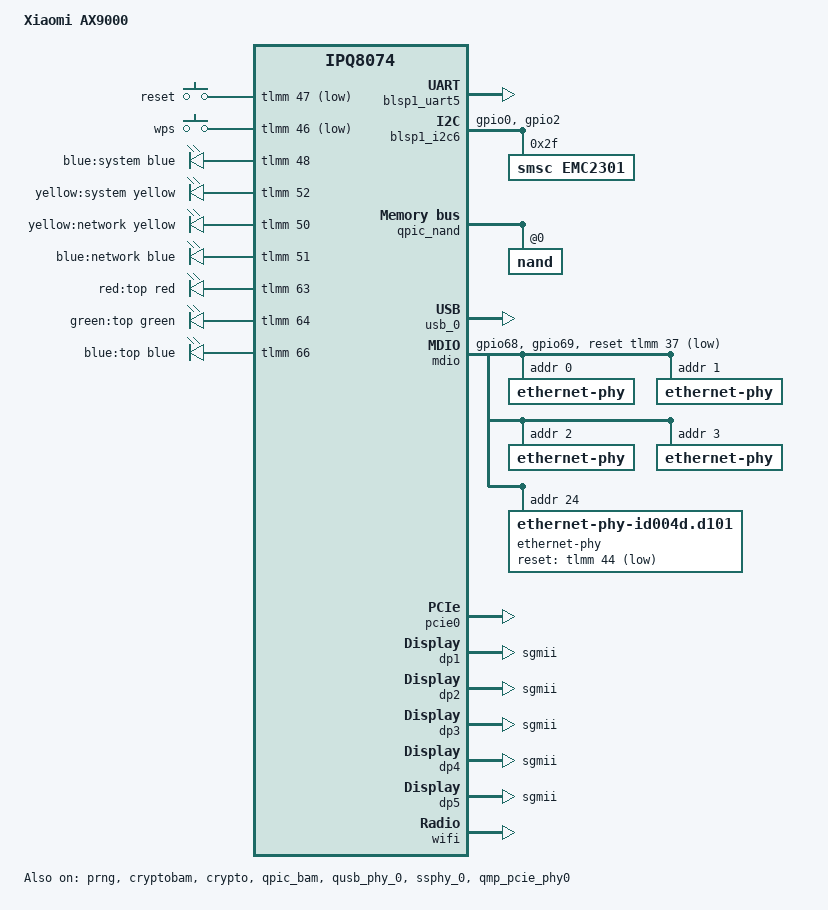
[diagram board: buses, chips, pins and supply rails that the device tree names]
// SPDX-License-Identifier: GPL-2.0-or-later OR MIT
/* Copyright (c) 2021, Robert Marko <robimarko@gmail.com> */

/dts-v1/;

#include "ipq8074.dtsi"
#include "ipq8074-hk-cpu.dtsi"
#include "ipq8074-ac-nss.dtsi"
#include <dt-bindings/gpio/gpio.h>
#include <dt-bindings/input/input.h>
#include <dt-bindings/leds/common.h>

/ {
	#address-cells = <2>;
	#size-cells = <2>;

	model = "Xiaomi AX9000";
	compatible = "xiaomi,ax9000", "qcom,ipq8074";
	interrupt-parent = <&intc>;

	aliases {
		serial0 = &blsp1_uart5;
		led-boot = &led_system_yellow;
		led-failsafe = &led_system_yellow;
		led-running = &led_system_blue;
		led-upgrade = &led_system_yellow;
		/* Aliases as required by u-boot to patch MAC addresses */
		ethernet0 = &dp1;
		ethernet1 = &dp2;
		ethernet2 = &dp3;
		ethernet3 = &dp4;
		ethernet4 = &dp5;
		label-mac-device = &dp5;
	};

	chosen {
		stdout-path = "serial0:115200n8";
		bootargs-append = " root=/dev/ubiblock0_1";
	};

	keys {
		compatible = "gpio-keys";

		reset {
			label = "reset";
			gpios = <&tlmm 47 GPIO_ACTIVE_LOW>;
			linux,code = <KEY_RESTART>;
		};

		wps {
			label = "wps"; /* Labeled Mesh on the device */
			gpios = <&tlmm 46 GPIO_ACTIVE_LOW>;
			linux,code = <KEY_WPS_BUTTON>;
		};
	};

	leds {
		compatible = "gpio-leds";

		led_system_blue: system-blue {
			label = "blue:system";
			gpios = <&tlmm 48 GPIO_ACTIVE_HIGH>;
			color = <LED_COLOR_ID_BLUE>;
		};

		led_system_yellow: system-yellow {
			label = "yellow:system";
			gpios = <&tlmm 52 GPIO_ACTIVE_HIGH>;
			color = <LED_COLOR_ID_YELLOW>;
		};

		network-yellow {
			label = "yellow:network";
			gpios = <&tlmm 50 GPIO_ACTIVE_HIGH>;
			color = <LED_COLOR_ID_YELLOW>;
		};

		network-blue {
			label = "blue:network";
			gpios = <&tlmm 51 GPIO_ACTIVE_HIGH>;
			color = <LED_COLOR_ID_BLUE>;
		};

		top-red {
			label = "red:top";
			gpios = <&tlmm 63 GPIO_ACTIVE_HIGH>;
			color = <LED_COLOR_ID_RED>;
			default-state = "keep";
		};

		top-green {
			label = "green:top";
			gpios = <&tlmm 64 GPIO_ACTIVE_HIGH>;
			color = <LED_COLOR_ID_GREEN>;
			default-state = "keep";
		};

		top-blue {
			label = "blue:top";
			gpios = <&tlmm 66 GPIO_ACTIVE_HIGH>;
			color = <LED_COLOR_ID_BLUE>;
			default-state = "keep";
		};
	};
};

&tlmm {
	mdio_pins: mdio-pins {
		mdc {
			pins = "gpio68";
			function = "mdc";
			drive-strength = <8>;
			bias-pull-up;
		};

		mdio {
			pins = "gpio69";
			function = "mdio";
			drive-strength = <8>;
			bias-pull-up;
		};
	};

	i2c_pins: i2c-pins {
		pins = "gpio0", "gpio2";
		function = "blsp5_i2c";
		drive-strength = <8>;
		bias-disable;
	};
};

&blsp1_uart5 {
	status = "okay";
};

&blsp1_i2c6 {
	status = "okay";

	pinctrl-0 = <&i2c_pins>;
	pinctrl-names = "default";

	/* Driver missing, justa placeholder */
	emc2301@2f {
		compatible = "smsc,emc2301";
		reg = <0x2f>;
	};
};

&prng {
	status = "okay";
};

&cryptobam {
	status = "okay";
};

&crypto {
	status = "okay";
};

&qpic_bam {
	status = "okay";
};

&qpic_nand {
	status = "okay";

	nand@0 {
		reg = <0>;
		nand-ecc-strength = <4>;
		nand-ecc-step-size = <512>;
		nand-bus-width = <8>;

		partitions {
			compatible = "qcom,smem-part";
		};
	};
};

&qusb_phy_0 {
	status = "okay";
};

&ssphy_0 {
	status = "okay";
};

&usb_0 {
	status = "okay";
};

&mdio {
	status = "okay";

	pinctrl-0 = <&mdio_pins>;
	pinctrl-names = "default";
	reset-gpios = <&tlmm 37 GPIO_ACTIVE_LOW>;

	ethernet-phy@0 {
		reg = <0>;
	};

	ethernet-phy@1 {
		reg = <1>;
	};

	ethernet-phy@2 {
		reg = <2>;
	};

	ethernet-phy@3 {
		reg = <3>;
	};

	ethernet-phy@24 {
		/*
		 * It looks like the PHY is too slow for
		 * auto probing after reset is deasserted
		 * so set the ID manually.
		 */
		compatible = "ethernet-phy-id004d.d101";
		reg = <24>;
		reset-gpios = <&tlmm 44 GPIO_ACTIVE_LOW>;
	};
};

&qmp_pcie_phy0 {
	status = "okay";
};

&pcie0 {
	status = "okay";

	perst-gpio = <&tlmm 58 GPIO_ACTIVE_LOW>;
};

&qmp_pcie_phy1 {
	status = "disabled";
};

&pcie1 {
	status = "disabled";

	perst-gpio = <&tlmm 62 GPIO_ACTIVE_HIGH>;
};

&ess_switch {
	switch_cpu_bmp = <0x1>;  /* cpu port bitmap */
	switch_lan_bmp = <0x1e>; /* lan port bitmap */
	switch_wan_bmp = <0x20>; /* wan port bitmap */
	switch_mac_mode = <0x0>; /* mac mode for uniphy instance0*/
	switch_mac_mode1 = <0x0f>; /* mac mode for uniphy instance1*/
	switch_mac_mode2 = <0xff>; /* mac mode for uniphy instance2*/
	bm_tick_mode = <0>; /* bm tick mode */
	tm_tick_mode = <0>; /* tm tick mode */
	qcom,port_phyinfo {
		port@0 {
			port_id = <1>;
			phy_address = <0>;
		};

		port@1 {
			port_id = <2>;
			phy_address = <1>;
		};

		port@2 {
			port_id = <3>;
			phy_address = <2>;
		};

		port@3 {
			port_id = <4>;
			phy_address = <3>;
		};

		port@4 {
			port_id = <5>;
			phy_address = <24>;
			port_mac_sel = "QGMAC_PORT";
		};
	};
	port_scheduler_resource {
		port@0 {
			port_id = <0>;
			ucast_queue = <0 143>;
			mcast_queue = <256 271>;
			l0sp = <0 35>;
			l0cdrr = <0 47>;
			l0edrr = <0 47>;
			l1cdrr = <0 7>;
			l1edrr = <0 7>;
		};
		port@1 {
			port_id = <1>;
			ucast_queue = <144 159>;
			mcast_queue = <272 275>;
			l0sp = <36 39>;
			l0cdrr = <48 63>;
			l0edrr = <48 63>;
			l1cdrr = <8 11>;
			l1edrr = <8 11>;
		};
		port@2 {
			port_id = <2>;
			ucast_queue = <160 175>;
			mcast_queue = <276 279>;
			l0sp = <40 43>;
			l0cdrr = <64 79>;
			l0edrr = <64 79>;
			l1cdrr = <12 15>;
			l1edrr = <12 15>;
		};
		port@3 {
			port_id = <3>;
			ucast_queue = <176 191>;
			mcast_queue = <280 283>;
			l0sp = <44 47>;
			l0cdrr = <80 95>;
			l0edrr = <80 95>;
			l1cdrr = <16 19>;
			l1edrr = <16 19>;
		};
		port@4 {
			port_id = <4>;
			ucast_queue = <192 207>;
			mcast_queue = <284 287>;
			l0sp = <48 51>;
			l0cdrr = <96 111>;
			l0edrr = <96 111>;
			l1cdrr = <20 23>;
			l1edrr = <20 23>;
		};
		port@5 {
			port_id = <5>;
			ucast_queue = <208 223>;
			mcast_queue = <288 291>;
			l0sp = <52 55>;
			l0cdrr = <112 127>;
			l0edrr = <112 127>;
			l1cdrr = <24 27>;
			l1edrr = <24 27>;
		};
		port@6 {
			port_id = <6>;
			ucast_queue = <224 239>;
			mcast_queue = <292 295>;
			l0sp = <56 59>;
			l0cdrr = <128 143>;
			l0edrr = <128 143>;
			l1cdrr = <28 31>;
			l1edrr = <28 31>;
		};
		port@7 {
			port_id = <7>;
			ucast_queue = <240 255>;
			mcast_queue = <296 299>;
			l0sp = <60 63>;
			l0cdrr = <144 159>;
			l0edrr = <144 159>;
			l1cdrr = <32 35>;
			l1edrr = <32 35>;
		};
	};
	port_scheduler_config {
		port@0 {
			port_id = <0>;
			l1scheduler {
				group@0 {
					sp = <0 1>; /*L0 SPs*/
					/*cpri cdrr epri edrr*/
					cfg = <0 0 0 0>;
				};
			};
			l0scheduler {
				group@0 {
					/*unicast queues*/
					ucast_queue = <0 4 8>;
					/*multicast queues*/
					mcast_queue = <256 260>;
					/*sp cpri cdrr epri edrr*/
					cfg = <0 0 0 0 0>;
				};
				group@1 {
					ucast_queue = <1 5 9>;
					mcast_queue = <257 261>;
					cfg = <0 1 1 1 1>;
				};
				group@2 {
					ucast_queue = <2 6 10>;
					mcast_queue = <258 262>;
					cfg = <0 2 2 2 2>;
				};
				group@3 {
					ucast_queue = <3 7 11>;
					mcast_queue = <259 263>;
					cfg = <0 3 3 3 3>;
				};
			};
		};
		port@1 {
			port_id = <1>;
			l1scheduler {
				group@0 {
					sp = <36>;
					cfg = <0 8 0 8>;
				};
				group@1 {
					sp = <37>;
					cfg = <1 9 1 9>;
				};
			};
			l0scheduler {
				group@0 {
					ucast_queue = <144>;
					ucast_loop_pri = <16>;
					mcast_queue = <272>;
					mcast_loop_pri = <4>;
					cfg = <36 0 48 0 48>;
				};
			};
		};
		port@2 {
			port_id = <2>;
			l1scheduler {
				group@0 {
					sp = <40>;
					cfg = <0 12 0 12>;
				};
				group@1 {
					sp = <41>;
					cfg = <1 13 1 13>;
				};
			};
			l0scheduler {
				group@0 {
					ucast_queue = <160>;
					ucast_loop_pri = <16>;
					mcast_queue = <276>;
					mcast_loop_pri = <4>;
					cfg = <40 0 64 0 64>;
				};
			};
		};
		port@3 {
			port_id = <3>;
			l1scheduler {
				group@0 {
					sp = <44>;
					cfg = <0 16 0 16>;
				};
				group@1 {
					sp = <45>;
					cfg = <1 17 1 17>;
				};
			};
			l0scheduler {
				group@0 {
					ucast_queue = <176>;
					ucast_loop_pri = <16>;
					mcast_queue = <280>;
					mcast_loop_pri = <4>;
					cfg = <44 0 80 0 80>;
				};
			};
		};
		port@4 {
			port_id = <4>;
			l1scheduler {
				group@0 {
					sp = <48>;
					cfg = <0 20 0 20>;
				};
				group@1 {
					sp = <49>;
					cfg = <1 21 1 21>;
				};
			};
			l0scheduler {
				group@0 {
					ucast_queue = <192>;
					ucast_loop_pri = <16>;
					mcast_queue = <284>;
					mcast_loop_pri = <4>;
					cfg = <48 0 96 0 96>;
				};
			};
		};
		port@5 {
			port_id = <5>;
			l1scheduler {
				group@0 {
					sp = <52>;
					cfg = <0 24 0 24>;
				};
				group@1 {
					sp = <53>;
					cfg = <1 25 1 25>;
				};
			};
			l0scheduler {
				group@0 {
					ucast_queue = <208>;
					ucast_loop_pri = <16>;
					mcast_queue = <288>;
					mcast_loop_pri = <4>;
					cfg = <52 0 112 0 112>;
				};
			};
		};
		port@6 {
			port_id = <6>;
			l1scheduler {
				group@0 {
					sp = <56>;
					cfg = <0 28 0 28>;
				};
				group@1 {
					sp = <57>;
					cfg = <1 29 1 29>;
				};
			};
			l0scheduler {
				group@0 {
					ucast_queue = <224>;
					ucast_loop_pri = <16>;
					mcast_queue = <292>;
					mcast_loop_pri = <4>;
					cfg = <56 0 128 0 128>;
				};
			};
		};
		port@7 {
			port_id = <7>;
			l1scheduler {
				group@0 {
					sp = <60>;
					cfg = <0 32 0 32>;
				};
				group@1 {
					sp = <61>;
					cfg = <1 33 1 33>;
				};
			};
			l0scheduler {
				group@0 {
					ucast_queue = <240>;
					ucast_loop_pri = <16>;
					mcast_queue = <296>;
					cfg = <60 0 144 0 144>;
				};
			};
		};
	};
};

&soc {
	dp1: dp1 {
		device_type = "network";
		compatible = "qcom,nss-dp";
		qcom,id = <1>;
		reg = <0x3a001000 0x200>;
		qcom,mactype = <0>;
		local-mac-address = [000000000000];
		qcom,link-poll = <1>;
		qcom,phy-mdio-addr = <0>;
		phy-mode = "sgmii";
		mdio-bus = <&mdio>;
	};

	dp2: dp2 {
		device_type = "network";
		compatible = "qcom,nss-dp";
		qcom,id = <2>;
		reg = <0x3a001200 0x200>;
		qcom,mactype = <0>;
		local-mac-address = [000000000000];
		qcom,link-poll = <1>;
		qcom,phy-mdio-addr = <1>;
		phy-mode = "sgmii";
		mdio-bus = <&mdio>;
	};

	dp3: dp3 {
		device_type = "network";
		compatible = "qcom,nss-dp";
		qcom,id = <3>;
		reg = <0x3a001400 0x200>;
		qcom,mactype = <0>;
		local-mac-address = [000000000000];
		qcom,link-poll = <1>;
		qcom,phy-mdio-addr = <2>;
		phy-mode = "sgmii";
		mdio-bus = <&mdio>;
	};

	dp4: dp4 {
		device_type = "network";
		compatible = "qcom,nss-dp";
		qcom,id = <4>;
		reg = <0x3a001600 0x200>;
		qcom,mactype = <0>;
		local-mac-address = [000000000000];
		qcom,link-poll = <1>;
		qcom,phy-mdio-addr = <3>;
		phy-mode = "sgmii";
		mdio-bus = <&mdio>;
	};

	dp5: dp5 {
		device_type = "network";
		compatible = "qcom,nss-dp";
		qcom,id = <5>;
		reg = <0x3a001800 0x200>;
		qcom,mactype = <0>;
		local-mac-address = [000000000000];
		qcom,link-poll = <1>;
		qcom,phy-mdio-addr = <24>;
		phy-mode = "sgmii";
		mdio-bus = <&mdio>;
	};
};

&wifi {
	status = "okay";

	qcom,board_id = <660>;
	qcom,ath11k-calibration-variant = "Xiaomi-AX9000";
};
